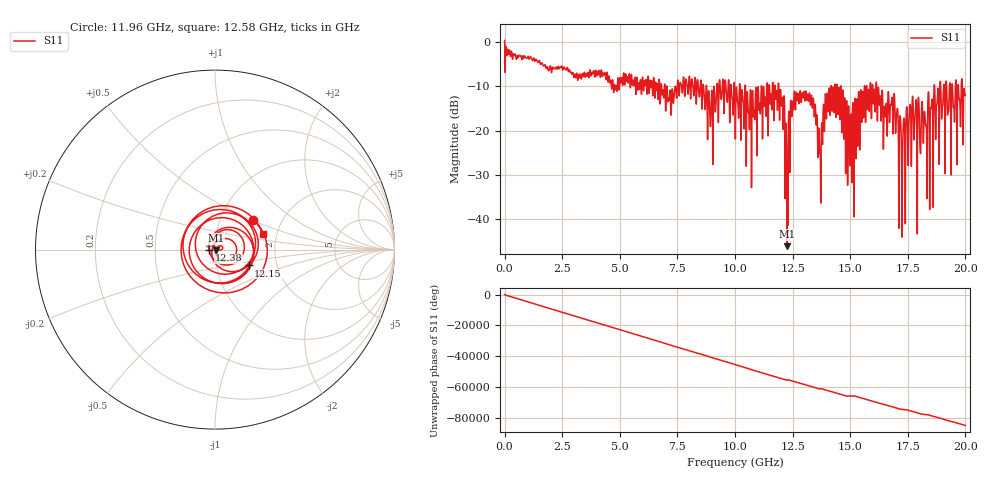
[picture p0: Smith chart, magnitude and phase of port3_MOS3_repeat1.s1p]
! MS46122B
! 2250307/22442219
! 7/21/2025 12:16:31 PM
! C:\USERS\SPARKY\DOCUMENTS\VNA_DATA\JULY21_2025\295K\PORT3_MOS3_REPEAT1.S1P
! CHANNEL.1
! TR.MEASUREMENT
! RAW.DATA
# GHZ S RI R 50.0
! FREQ.GHZ  S11RE  S11IM
!; PortSelection: Port_1
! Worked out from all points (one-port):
!   10001 points, 1 MHz to 20 GHz, reference 50 ohm
!   lowest |S11| = -46.1 dB at 12.25 GHz (marker M1), VSWR 1.01, Z = 50.4 - j0.327 ohm
!   |S11| at or under -10 dB: 11.9 GHz to 14.17 GHz (2.266 GHz wide, 17.4 % of centre); 14.6 GHz to 15.62 GHz (1.019 GHz wide, 6.74 % of centre); 16.15 GHz to 18.64 GHz (2.493 GHz wide, 14.3 % of centre) (the widest 3 of 69)
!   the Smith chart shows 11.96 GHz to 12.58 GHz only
!   S11 on the Smith chart (normalised r, x): 11.96 GHz: 1.43, +0.51; 12.15 GHz: 1.43, -0.26; 12.38 GHz: 0.94, -0.01; 12.58 GHz: 1.69, +0.32
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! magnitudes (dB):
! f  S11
! 1 MHz  0.4
! 2.501 GHz  -5.8
! 5.001 GHz  -8.4
! 7.501 GHz  -9.5
! 8.447 GHz  -12.2
! 8.969 GHz  -13.0
! 9.403 GHz  -12.9
! 10 GHz  -14.2
! 11.96 GHz  -11.4
! 12.15 GHz  -13.7
! 12.25 GHz  -46.1
! 12.38 GHz  -29.5
! 12.5 GHz  -13.3
! 12.58 GHz  -11.0
! 13.32 GHz  -12.0
! 13.67 GHz  -25.2
! 13.92 GHz  -11.7
! 14.26 GHz  -10.1
! 15 GHz  -19.8
! 16.05 GHz  -10.7
! 16.52 GHz  -16.9
! 16.98 GHz  -19.7
! 17.19 GHz  -17.9
! 17.5 GHz  -22.7
! 17.78 GHz  -20.3
! 18.26 GHz  -17.6
! 18.73 GHz  -16.3
! 20 GHz  -12.0
